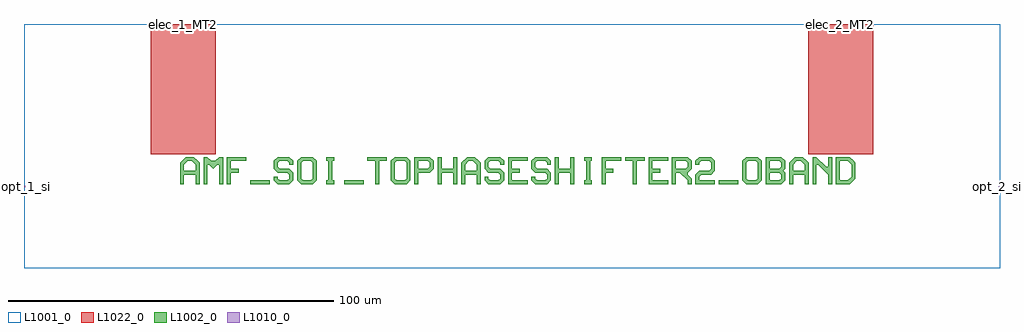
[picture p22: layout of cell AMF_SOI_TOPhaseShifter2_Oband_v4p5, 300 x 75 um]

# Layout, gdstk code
import gdstk
lib = gdstk.Library(unit=1e-6, precision=1e-09)
def R(c, l, rs):  # rectangles x0, y0, x1, y1
    for r in rs: c.add(gdstk.rectangle(r[:2], r[2:], *l))
def P(c, l, *ps):  # polygons
    for p in ps: c.add(gdstk.Polygon(p, *l))
L1001_0 = (1001, 0)
L1002_0 = (1002, 0)
L1010_0 = (1010, 0)
L1022_0 = (1022, 0)

amf_soi_tophaseshifter2_ = lib.new_cell('AMF_SOI_TOPhaseShifter2_Oband_v4p5')
R(amf_soi_tophaseshifter2_, L1001_0, [(0,-25,300,50)])
R(amf_soi_tophaseshifter2_, L1002_0, [(69.576,0.702,75.576,1.902), (98.376,0.702,104.376,1.902), (213.576,0.702,219.576,1.902)])
P(amf_soi_tophaseshifter2_, L1002_0, [(47.976,0.702),(47.976,7.302),(49.776,9.102),(52.176,9.102),(53.376,7.902),(50.376,7.902),(49.176,6.702),(49.176,4.902),(52.776,4.902),(52.776,6.702),(51.576,7.902),(53.376,7.902),(53.976,7.302),(53.976,0.702),(52.776,0.702),(52.776,3.702),(49.176,3.702),(49.176,0.702)],
  [(55.176,0.702),(55.176,9.102),(56.376,9.102),(57.576,7.902),(58.776,7.902),(59.976,9.102),(61.176,9.102),(61.176,0.702),(59.976,0.702),(59.976,6.702),(59.376,6.702),(58.176,5.502),(56.976,6.702),(56.376,6.702),(56.376,0.702)],
  [(62.376,0.702),(62.376,9.102),(68.376,9.102),(68.376,7.902),(63.576,7.902),(63.576,5.502),(65.976,5.502),(65.976,4.302),(63.576,4.302),(63.576,0.702)],
  [(77.976,0.702),(76.776,1.902),(76.776,3.102),(77.976,3.102),(77.976,2.502),(78.576,1.902),(80.976,1.902),(81.576,2.502),(81.576,3.702),(80.976,4.302),(77.976,4.302),(76.776,5.502),(76.776,7.902),(77.976,9.102),(81.576,9.102),(82.776,7.902),(82.776,6.702),(81.576,6.702),(81.576,7.302),(80.976,7.902),(78.576,7.902),(77.976,7.302),(77.976,6.102),(78.576,5.502),(81.576,5.502),(82.776,4.302),(82.776,1.902),(81.576,0.702)],
  [(85.176,0.702),(83.976,1.902),(83.976,7.902),(85.176,9.102),(88.776,9.102),(89.976,7.902),(89.976,4.902),(88.776,4.902),(88.776,7.302),(88.176,7.902),(85.776,7.902),(85.176,7.302),(85.176,2.502),(85.776,1.902),(88.176,1.902),(88.776,2.502),(88.776,4.902),(89.976,4.902),(89.976,1.902),(88.776,0.702)],
  [(92.976,0.702),(92.976,1.902),(93.576,1.902),(93.576,7.902),(92.976,7.902),(92.976,9.102),(95.376,9.102),(95.376,7.902),(94.776,7.902),(94.776,1.902),(95.376,1.902),(95.376,0.702)],
  [(107.976,0.702),(107.976,7.902),(105.576,7.902),(105.576,9.102),(111.576,9.102),(111.576,7.902),(109.176,7.902),(109.176,0.702)],
  [(113.976,0.702),(112.776,1.902),(112.776,7.902),(113.976,9.102),(117.576,9.102),(118.776,7.902),(118.776,4.902),(117.576,4.902),(117.576,7.302),(116.976,7.902),(114.576,7.902),(113.976,7.302),(113.976,2.502),(114.576,1.902),(116.976,1.902),(117.576,2.502),(117.576,4.902),(118.776,4.902),(118.776,1.902),(117.576,0.702)],
  [(119.976,0.702),(119.976,9.102),(124.776,9.102),(125.976,7.902),(125.976,5.502),(124.776,4.302),(121.176,4.302),(121.176,5.502),(124.176,5.502),(124.776,6.102),(124.776,7.302),(124.176,7.902),(121.176,7.902),(121.176,0.702)],
  [(127.176,0.702),(127.176,9.102),(128.376,9.102),(128.376,5.502),(131.976,5.502),(131.976,9.102),(133.176,9.102),(133.176,0.702),(131.976,0.702),(131.976,4.302),(128.376,4.302),(128.376,0.702)],
  [(134.376,0.702),(134.376,7.302),(136.176,9.102),(138.576,9.102),(139.776,7.902),(136.776,7.902),(135.576,6.702),(135.576,4.902),(139.176,4.902),(139.176,6.702),(137.976,7.902),(139.776,7.902),(140.376,7.302),(140.376,0.702),(139.176,0.702),(139.176,3.702),(135.576,3.702),(135.576,0.702)],
  [(142.776,0.702),(141.576,1.902),(141.576,3.102),(142.776,3.102),(142.776,2.502),(143.376,1.902),(145.776,1.902),(146.376,2.502),(146.376,3.702),(145.776,4.302),(142.776,4.302),(141.576,5.502),(141.576,7.902),(142.776,9.102),(146.376,9.102),(147.576,7.902),(147.576,6.702),(146.376,6.702),(146.376,7.302),(145.776,7.902),(143.376,7.902),(142.776,7.302),(142.776,6.102),(143.376,5.502),(146.376,5.502),(147.576,4.302),(147.576,1.902),(146.376,0.702)],
  [(148.776,0.702),(148.776,9.102),(154.776,9.102),(154.776,7.902),(149.976,7.902),(149.976,5.502),(152.376,5.502),(152.376,4.302),(149.976,4.302),(149.976,1.902),(154.776,1.902),(154.776,0.702)],
  [(157.176,0.702),(155.976,1.902),(155.976,3.102),(157.176,3.102),(157.176,2.502),(157.776,1.902),(160.176,1.902),(160.776,2.502),(160.776,3.702),(160.176,4.302),(157.176,4.302),(155.976,5.502),(155.976,7.902),(157.176,9.102),(160.776,9.102),(161.976,7.902),(161.976,6.702),(160.776,6.702),(160.776,7.302),(160.176,7.902),(157.776,7.902),(157.176,7.302),(157.176,6.102),(157.776,5.502),(160.776,5.502),(161.976,4.302),(161.976,1.902),(160.776,0.702)],
  [(163.176,0.702),(163.176,9.102),(164.376,9.102),(164.376,5.502),(167.976,5.502),(167.976,9.102),(169.176,9.102),(169.176,0.702),(167.976,0.702),(167.976,4.302),(164.376,4.302),(164.376,0.702)],
  [(172.176,0.702),(172.176,1.902),(172.776,1.902),(172.776,7.902),(172.176,7.902),(172.176,9.102),(174.576,9.102),(174.576,7.902),(173.976,7.902),(173.976,1.902),(174.576,1.902),(174.576,0.702)],
  [(177.576,0.702),(177.576,9.102),(183.576,9.102),(183.576,7.902),(178.776,7.902),(178.776,5.502),(181.176,5.502),(181.176,4.302),(178.776,4.302),(178.776,0.702)],
  [(187.176,0.702),(187.176,7.902),(184.776,7.902),(184.776,9.102),(190.776,9.102),(190.776,7.902),(188.376,7.902),(188.376,0.702)],
  [(191.976,0.702),(191.976,9.102),(197.976,9.102),(197.976,7.902),(193.176,7.902),(193.176,5.502),(195.576,5.502),(195.576,4.302),(193.176,4.302),(193.176,1.902),(197.976,1.902),(197.976,0.702)],
  [(199.176,0.702),(199.176,9.102),(203.976,9.102),(205.176,7.902),(200.376,7.902),(200.376,5.502),(203.376,5.502),(203.976,6.102),(203.976,7.302),(203.376,7.902),(205.176,7.902),(205.176,5.502),(203.976,4.302),(203.976,3.702),(205.176,2.502),(205.176,0.702),(203.976,0.702),(203.976,1.902),(201.576,4.302),(200.376,4.302),(200.376,0.702)],
  [(206.376,0.702),(206.376,3.702),(207.576,4.902),(210.576,4.902),(211.176,5.502),(211.176,7.302),(210.576,7.902),(208.176,7.902),(207.576,7.302),(207.576,6.702),(206.376,6.702),(206.376,7.902),(207.576,9.102),(211.176,9.102),(212.376,7.902),(212.376,4.902),(211.176,3.702),(208.176,3.702),(207.576,3.102),(207.576,1.902),(212.376,1.902),(212.376,0.702)],
  [(221.976,0.702),(220.776,1.902),(220.776,7.902),(221.976,9.102),(225.576,9.102),(226.776,7.902),(226.776,4.902),(225.576,4.902),(225.576,7.302),(224.976,7.902),(222.576,7.902),(221.976,7.302),(221.976,2.502),(222.576,1.902),(224.976,1.902),(225.576,2.502),(225.576,4.902),(226.776,4.902),(226.776,1.902),(225.576,0.702)],
  [(227.976,0.702),(227.976,9.102),(232.776,9.102),(233.976,7.902),(229.176,7.902),(229.176,5.502),(232.176,5.502),(232.776,6.102),(232.776,7.302),(232.176,7.902),(233.976,7.902),(233.976,5.502),(233.376,4.902),(233.976,4.302),(229.176,4.302),(229.176,1.902),(232.176,1.902),(232.776,2.502),(232.776,3.702),(232.176,4.302),(233.976,4.302),(233.976,1.902),(232.776,0.702)],
  [(235.176,0.702),(235.176,7.302),(236.976,9.102),(239.376,9.102),(240.576,7.902),(237.576,7.902),(236.376,6.702),(236.376,4.902),(239.976,4.902),(239.976,6.702),(238.776,7.902),(240.576,7.902),(241.176,7.302),(241.176,0.702),(239.976,0.702),(239.976,3.702),(236.376,3.702),(236.376,0.702)],
  [(242.376,0.702),(242.376,9.102),(243.576,9.102),(246.576,6.102),(247.176,6.102),(247.176,9.102),(248.376,9.102),(248.376,0.702),(247.176,0.702),(247.176,3.702),(244.176,6.702),(243.576,6.702),(243.576,0.702)],
  [(249.576,0.702),(249.576,9.102),(253.776,9.102),(254.976,7.902),(250.776,7.902),(250.776,1.902),(253.176,1.902),(254.376,3.102),(254.376,6.702),(253.176,7.902),(254.976,7.902),(255.576,7.302),(255.576,2.502),(253.776,0.702)])
R(amf_soi_tophaseshifter2_, L1010_0, [(0,-0.205,0.41,0.205), (299.59,-0.205,300,0.205)])
R(amf_soi_tophaseshifter2_, L1022_0, [(39,10,59,50), (241,10,261,50)])
amf_soi_tophaseshifter2_.add(gdstk.Label('opt_2_si', (300,0), layer=1010, texttype=0))
amf_soi_tophaseshifter2_.add(gdstk.Label('opt_1_si', (0,0), layer=1010, texttype=0))
amf_soi_tophaseshifter2_.add(gdstk.Label('elec_1_MT2', (49,50), layer=1022, texttype=0))
amf_soi_tophaseshifter2_.add(gdstk.Label('elec_2_MT2', (251,50), layer=1022, texttype=0))

lib.write_gds('AMF_SOI_TOPhaseShifter2_Oband_v4p5.gds')
